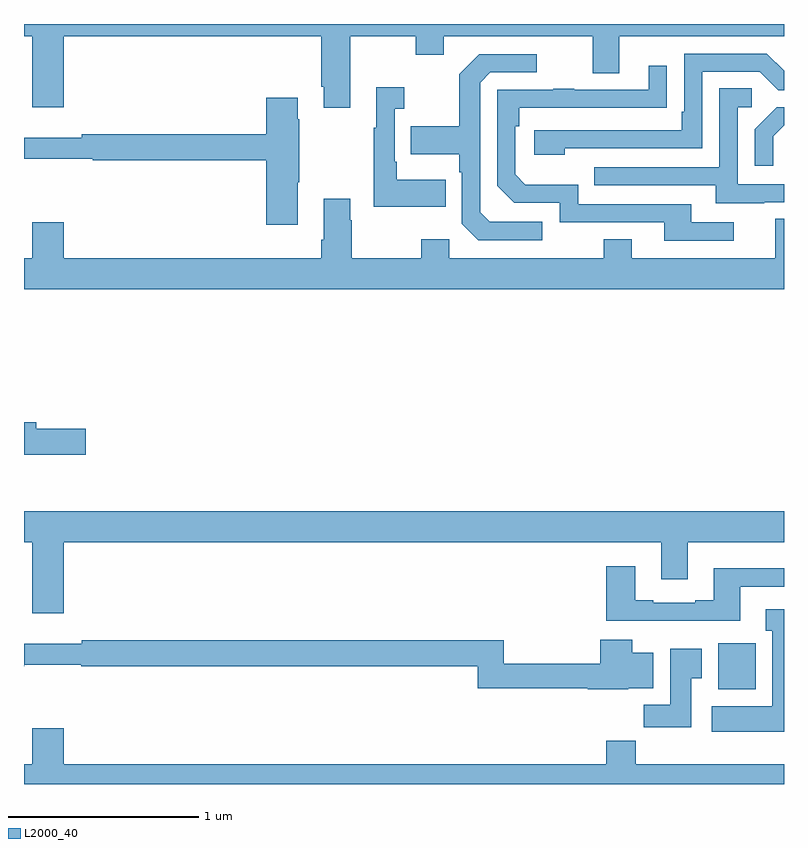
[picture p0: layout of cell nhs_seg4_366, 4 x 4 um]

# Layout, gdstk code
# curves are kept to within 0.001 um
import gdstk
lib = gdstk.Library(unit=1e-6, precision=1e-09)
def R(c, l, rs):  # rectangles x0, y0, x1, y1
    for r in rs: c.add(gdstk.rectangle(r[:2], r[2:], *l))
def P(c, l, *ps):  # polygons
    for p in ps: c.add(gdstk.Polygon(p, *l))
L2000_40 = (2000, 40)

nhs_seg4_366 = lib.new_cell('nhs_seg4_366')
R(nhs_seg4_366, L2000_40, [(132.653,777.398,132.85,777.64)])
P(nhs_seg4_366, L2000_40, [(130.717,780.836),(131.062,780.836),(131.062,780.737),(131.209,780.737),(131.209,780.836),(131.993,780.836),(131.993,780.642),(132.133,780.642),(132.133,780.836),(133,780.836),(133,780.9),(129,780.9),(129,780.836),(129.044,780.836),(129.044,780.462),(129.208,780.462),(129.208,780.836),(130.565,780.836),(130.565,780.571),(130.577,780.571),(130.577,780.459),(130.717,780.459)],
  [(131.846,780.246),(132.57,780.246),(132.57,780.648),(132.873,780.648),(132.969,780.552),(133,780.552),(133,780.653),(132.909,780.744),(132.474,780.744),(132.474,780.439),(132.461,780.439),(132.461,780.342),(131.685,780.342),(131.685,780.212),(131.846,780.212)],
  [(131.728,779.859),(131.451,779.859),(131.4,779.91),(131.4,780.591),(131.454,780.645),(131.698,780.645),(131.698,780.741),(131.397,780.741),(131.292,780.635),(131.292,780.363),(131.035,780.363),(131.035,780.215),(131.292,780.215),(131.292,780.119),(131.304,780.119),(131.304,779.85),(131.391,779.763),(131.728,779.763)],
  [(132.736,779.856),(132.511,779.856),(132.511,779.952),(131.916,779.952),(131.916,780.055),(131.639,780.055),(131.586,780.108),(131.586,780.362),(131.606,780.362),(131.606,780.459),(132.383,780.46),(132.383,780.679),(132.287,780.679),(132.287,780.555),(131.897,780.555),(131.897,780.56),(131.785,780.56),(131.785,780.555),(131.49,780.555),(131.49,780.048),(131.58,779.958),(131.82,779.958),(131.82,779.856),(132.371,779.856),(132.371,779.76),(132.736,779.76)],
  [(131.219,780.079),(130.963,780.079),(130.963,780.175),(130.95,780.175),(130.95,780.455),(131.002,780.455),(131.002,780.568),(130.853,780.568),(130.853,780.355),(130.842,780.355),(130.842,779.939),(131.219,779.939)],
  [(132.895,779.961),(133,779.961),(133,780.057),(132.756,780.057),(132.756,780.462),(132.829,780.462),(132.829,780.563),(132.66,780.563),(132.66,780.147),(132.001,780.147),(132.001,780.051),(132.641,780.051),(132.641,779.957),(132.895,779.957)],
  [(130.441,780.067),(130.449,780.067),(130.449,780.398),(130.441,780.398),(130.441,780.511),(130.274,780.511),(130.274,780.32),(129.304,780.32),(129.304,780.301),(129,780.301),(129,780.192),(129.361,780.192),(129.361,780.184),(130.274,780.184),(130.274,779.844),(130.441,779.844)],
  [(132.943,780.309),(133,780.366),(133,780.462),(132.962,780.462),(132.846,780.346),(132.846,780.153),(132.943,780.153)],
  [(133,779.876),(132.953,779.876),(132.953,779.668),(132.199,779.668),(132.199,779.767),(132.052,779.767),(132.052,779.668),(131.238,779.668),(131.238,779.767),(131.092,779.767),(131.092,779.668),(130.725,779.668),(130.725,779.867),(130.717,779.867),(130.717,779.98),(130.577,779.98),(130.577,779.764),(130.565,779.764),(130.565,779.668),(129.208,779.668),(129.208,779.857),(129.044,779.857),(129.044,779.668),(129,779.668),(129,779.504),(133,779.504)],
  [(129.325,778.769),(129.064,778.769),(129.064,778.805),(129,778.805),(129,778.634),(129.325,778.634)],
  [(129.208,778.172),(132.353,778.172),(132.353,777.978),(132.493,777.978),(132.493,778.172),(133,778.172),(133,778.336),(129,778.336),(129,778.172),(129.044,778.172),(129.044,777.798),(129.208,777.798)],
  [(132.769,777.939),(133,777.939),(133,778.036),(132.629,778.036),(132.629,777.868),(132.533,777.868),(132.533,777.855),(132.313,777.855),(132.313,777.868),(132.217,777.868),(132.217,778.045),(132.065,778.045),(132.065,777.758),(132.769,777.758)],
  [(133,777.82),(132.905,777.82),(132.905,777.707),(132.938,777.707),(132.938,777.31),(132.621,777.31),(132.621,777.176),(133,777.176)],
  [(132.18,777.404),(132.313,777.404),(132.313,777.592),(132.202,777.592),(132.202,777.658),(132.032,777.658),(132.032,777.533),(131.525,777.533),(131.525,777.656),(129.304,777.656),(129.304,777.637),(129,777.637),(129,777.52),(129.002,777.52),(129.002,777.528),(129.302,777.528),(129.302,777.52),(131.389,777.52),(131.389,777.405),(131.966,777.405),(131.966,777.398),(132.18,777.398)],
  [(132.511,777.457),(132.568,777.457),(132.568,777.613),(132.401,777.613),(132.401,777.316),(132.262,777.316),(132.262,777.198),(132.511,777.198)],
  [(133,777.004),(132.221,777.004),(132.221,777.128),(132.065,777.128),(132.065,777.004),(129.208,777.004),(129.208,777.193),(129.044,777.193),(129.044,777.004),(129,777.004),(129,776.9),(133,776.9)])

lib.write_gds('nhs_seg4_366.gds')
